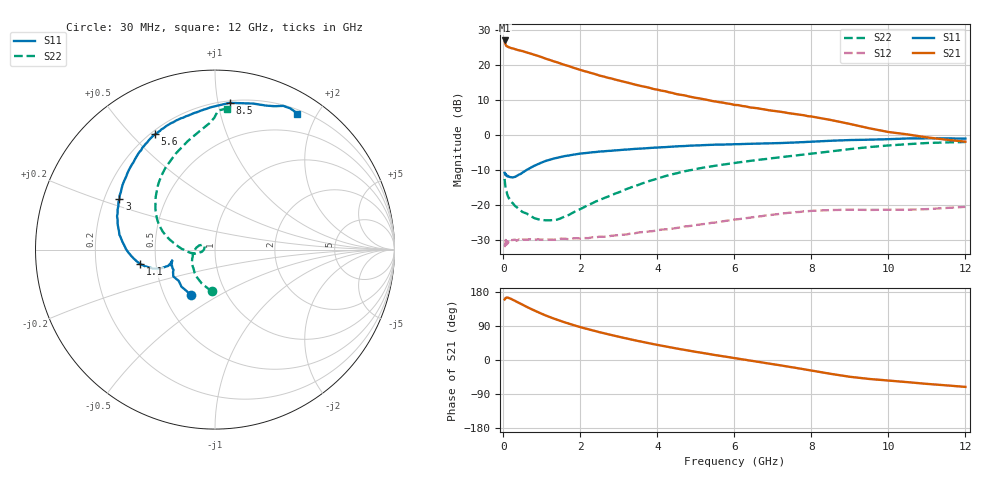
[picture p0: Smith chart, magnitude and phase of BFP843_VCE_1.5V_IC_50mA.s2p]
! Infineon Technologies  Discrete & RF Semiconductors
! BFP843
! VCE =  1.5 V,  IC =  50 mA
! Common Emitter S-Parameters:  Aug 2013
# GHz  S  MA  R  50
!  f  S11  S21  S12  S22
! GHz  MAG  ANG  MAG  ANG  MAG  ANG  MAG  ANG
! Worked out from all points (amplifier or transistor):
!   103 points, 30 MHz to 12 GHz, reference 50 ohm
!   highest |S21| = 27.0 dB at 30 MHz (marker M1)
!   |S21| within 3 dB of that: start of sweep to 474.9 MHz
!   unconditionally stable (mu >= 1): 32.73 MHz to 11.6 GHz
!   at 400 MHz: K = 1.17, MAG = 24.5 dB, |S12| = -30.0 dB
!   at 3.7 GHz: K = 1.58, MAG = 16.3 dB, |S12| = -27.8 dB
!   at 12 GHz: K = 0.99, MSG = 9.3 dB, |S12| = -20.6 dB
!   S11 on the Smith chart (normalised r, x): 30 MHz: 0.68, -0.38; 1.1 GHz: 0.41, -0.08; 3 GHz: 0.26, +0.23; 5.6 GHz: 0.22, +0.59; 8.5 GHz: 0.21, +1.08; 12 GHz: 0.26, +1.74
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0.03  0.2857 -117.5  22.39 159.7  0.0272 32.3  0.2337 -94.6
0.04  0.2786 -132.1  20.75 160.9  0.0255 22.4  0.2026 -111.4
0.05  0.2669 -139.3  19.96 163.1  0.0277 17.2  0.1827 -124.5
0.07  0.2651 -151.9  18.84 164.4  0.0289 17.0  0.159 -138.8
0.1  0.2559 -159.3  18.29 164.7  0.0297 13.9  0.1392 -156.1
0.2  0.247 -165.9  17.41 161.2  0.0311 7.7  0.1101 179.0
0.5  0.2888 -160.9  15.74 145.7  0.0318 6.2  0.0784 161.2
0.6  0.3134 -160.8  15.11 140.5  0.0317 6.5  0.0749 158.5
0.8  0.3603 -162.9  13.98 130.8  0.0317 6.0  0.0643 160.0
1.1  0.4235 -169.0  12.28 117.4  0.0316 7.9  0.0598 168.2
1.3  0.4559 -173.8  11.29 109.6  0.0316 8.2  0.0602 176.2
1.6  0.4969 179.5  9.959 99.1  0.0326 10.0  0.0683 -174.2
2.1  0.5454 168.9  8.155 83.9  0.0333 14.8  0.0924 -167.9
2.5  0.5765 161.2  7.026 73.2  0.0349 16.3  0.1169 -169.5
3  0.603 152.1  5.982 61.3  0.0368 20.1  0.1506 -175.2
4.1  0.6629 134.2  4.283 37.9  0.044 22.5  0.2461 169.0
4.9  0.7002 124.3  3.46 23.2  0.05 22.6  0.3152 159.8
5.6  0.7248 117.5  2.935 11.5  0.0567 21.2  0.3673 151.8
6.1  0.7342 113.1  2.659 3.5  0.062 19.6  0.4025 145.5
8.5  0.8217 84.3  1.631 -36.5  0.0838 -0.7  0.5786 112.1
10.5  0.8865 64.6  1.012 -58.5  0.0848 -13.6  0.7344 90.3
12  0.8823 58.9  0.797 -71.0  0.0931 -21.1  0.7883 85.3
